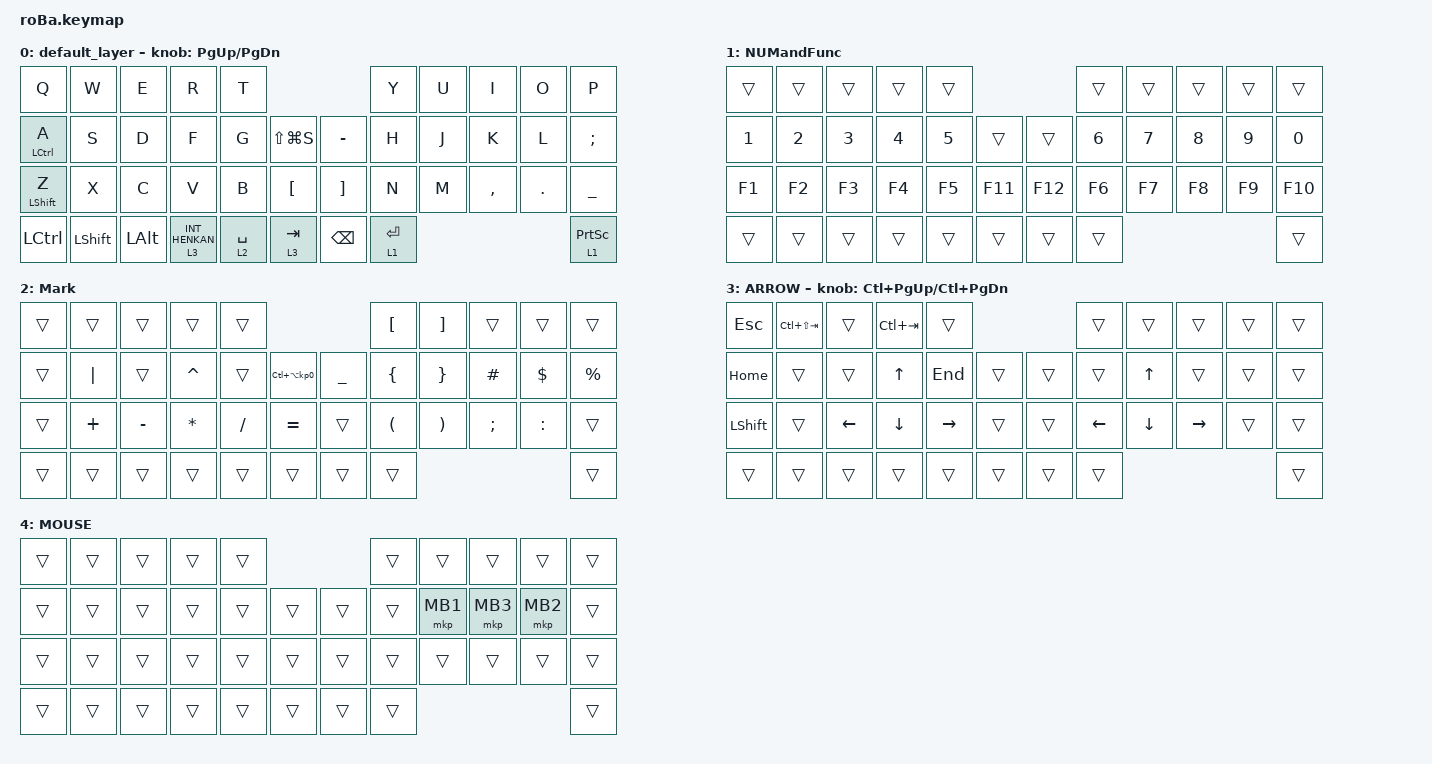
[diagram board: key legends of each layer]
#include <behaviors.dtsi>
#include <dt-bindings/zmk/keys.h>
#include <dt-bindings/zmk/pointing.h>

&mt {
    flavor = "balanced";
    quick-tap-ms = <0>;
};

&trackball {
    automouse-layer = <4>;
    scroll-layers = <5>;

    // arrows {
    //     layers = <3>;
    //     bindings =
    //         <&kp RIGHT_ARROW>,
    //         <&kp LEFT_ARROW>,
    //         <&kp UP_ARROW>,
    //         <&kp DOWN_ARROW>;
    //     tick = <10>;
    //     wait-ms = <5>;
    //     tap-ms = <5>;
    // };
};

/ {
    combos {
        compatible = "zmk,combos";

        tab {
            bindings = <&kp TAB>;
            key-positions = <11 12>;
        };

        shift_tab {
            bindings = <&kp LS(TAB)>;
            key-positions = <12 13>;
        };

        muhennkann {
            bindings = <&to_layer_0 INT_MUHENKAN>;
            key-positions = <11 10>;
        };

        double_quotation {
            bindings = <&kp DOUBLE_QUOTES>;
            key-positions = <20 21>;
        };

        eq {
            bindings = <&kp EQUAL>;
            key-positions = <24 25>;
        };
    };

    macros {
        to_layer_0: to_layer_0 {
            compatible = "zmk,behavior-macro-one-param";
            #binding-cells = <1>;
            bindings = <&to 0 &macro_param_1to1 &kp MACRO_PLACEHOLDER>;
            label = "TO_LAYER_0";
        };
    };

    behaviors {
        lt_to_layer_0: lt_to_layer_0 {
            compatible = "zmk,behavior-hold-tap";
            label = "LAYER_TAP_TO_0";
            bindings = <&mo>, <&to_layer_0>;

            #binding-cells = <2>;
            tapping-term-ms = <200>;
        };
    };

    keymap {
        compatible = "zmk,keymap";

        default_layer {
            bindings = <
&kp Q             &kp W       &kp E         &kp R                        &kp T                                                     &kp Y        &kp U  &kp I      &kp O    &kp P
&mt LCTRL A       &kp S       &kp D         &kp F                        &kp G        &kp LS(LG(S))             &kp MINUS          &kp H        &kp J  &kp K      &kp L    &kp SEMICOLON
&mt LEFT_SHIFT Z  &kp X       &kp C         &kp V                        &kp B        &kp LEFT_BRACKET          &kp RIGHT_BRACKET  &kp N        &kp M  &kp COMMA  &kp DOT  &kp UNDERSCORE
&kp LCTRL         &kp LSHIFT  &kp LEFT_ALT  &lt_to_layer_0 3 INT_HENKAN  &lt 2 SPACE  &lt_to_layer_0 3 TAB      &kp BACKSPACE      &lt 1 ENTER                             &lt 1 PRINTSCREEN
            >;

            sensor-bindings = <&inc_dec_kp PG_UP PAGE_DOWN>;
        };

        NUMandFunc {
            bindings = <
&trans        &trans        &trans        &trans        &trans                        &trans        &trans        &trans        &trans        &trans
&kp NUMBER_1  &kp NUMBER_2  &kp NUMBER_3  &kp NUMBER_4  &kp N5  &trans       &trans   &kp NUMBER_6  &kp NUMBER_7  &kp NUMBER_8  &kp NUMBER_9  &kp NUMBER_0
&kp F1        &kp F2        &kp F3        &kp F4        &kp F5  &kp F11      &kp F12  &kp F6        &kp F7        &kp F8        &kp F9        &kp F10
&trans        &trans        &trans        &trans        &trans  &trans       &trans   &trans                                                  &trans
            >;
        };

        Mark {
            bindings = <
&trans  &trans    &trans     &trans        &trans                                                  &kp LEFT_BRACKET      &kp RIGHT_BRACKET      &trans         &trans      &trans
&trans  &kp PIPE  &trans     &kp CARET     &trans     &kp LC(LA(KP_NUMBER_0))      &kp UNDERSCORE  &kp LEFT_BRACE        &kp RIGHT_BRACE        &kp HASH       &kp DOLLAR  &kp PERCENT
&trans  &kp PLUS  &kp MINUS  &kp ASTERISK  &kp SLASH  &kp EQUAL                    &trans          &kp LEFT_PARENTHESIS  &kp RIGHT_PARENTHESIS  &kp SEMICOLON  &kp COLON   &trans
&trans  &trans    &trans     &trans        &trans     &trans                       &trans          &trans                                                                  &trans
            >;
        };

        ARROW {
            bindings = <
&kp ESCAPE      &kp LC(LS(TAB))  &trans          &kp LC(TAB)     &trans                               &trans          &trans          &trans           &trans  &trans
&kp HOME        &trans           &trans          &kp UP_ARROW    &kp END          &trans      &trans  &trans          &kp UP_ARROW    &trans           &trans  &trans
&kp LEFT_SHIFT  &trans           &kp LEFT_ARROW  &kp DOWN_ARROW  &kp RIGHT_ARROW  &trans      &trans  &kp LEFT_ARROW  &kp DOWN_ARROW  &kp RIGHT_ARROW  &trans  &trans
&trans          &trans           &trans          &trans          &trans           &trans      &trans  &trans                                                   &trans
            >;

            sensor-bindings = <&inc_dec_kp LC(PAGE_UP) LC(PAGE_DOWN)>;
        };

        MOUSE {
            bindings = <
&trans  &trans  &trans  &trans  &trans                      &trans  &trans    &trans    &trans    &trans
&trans  &trans  &trans  &trans  &trans  &trans      &trans  &trans  &mkp MB1  &mkp MB3  &mkp MB2  &trans
&trans  &trans  &trans  &trans  &trans  &trans      &trans  &trans  &trans    &trans    &trans    &trans
&trans  &trans  &trans  &trans  &trans  &trans      &trans  &trans                                &trans
            >;
        };
    };
};
